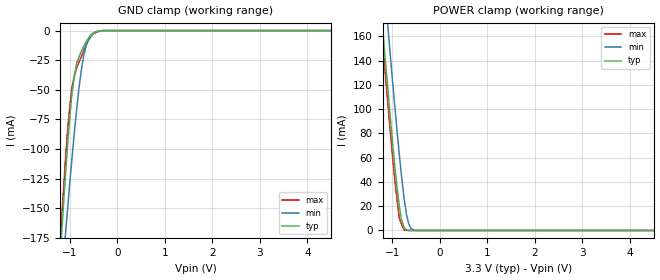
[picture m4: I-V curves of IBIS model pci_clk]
| [Disclaimer] This information is for modeling purposes only and is not
| guaranteed.
| [Copyright] Copyright 2000, Intel Corporation, All Rights Reserved.
| From intel.ibs, 21555, Intel Corporation
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[Model]   pci_clk
Model_type   Input
Vinl = 0.99V
Vinh = 1.65V
|   typ   min   max
C_comp   4.000pF   2.000pF   6.000pF
[Voltage Range]   3.300V   3.135V   3.465V
[Temperature Range]   25.0   100.0   0.0
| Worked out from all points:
|   GND clamp passes 1 mA (typ) near -0.46 V on its own axis
|   POWER clamp passes 1 mA (typ) near -0.71 V on its own axis
[GND Clamp]
|   Voltage   I(typ)   I(min)   I(max)
-3.3V     -1.674A    -1.356A    -1.789A
-1.2V     -191mA     -227.1mA   -180.5mA
-1.15V    -159.4mA   -202.1mA   -147.1mA
-1.1V     -128.9mA   -177.6mA   -115.6mA
-1.05V    -100.2mA   -153.5mA   -87.26mA
-950mV    -52.01mA   -107.2mA   -47.88mA
-850mV    -27.3mA    -65.27mA   -30.97mA
-750mV    -17.19mA   -31.9mA    -21.66mA
-700mV    -12.93mA   -20.15mA   -16.67mA
-600mV    -5.942mA   -7.203mA   -8.052mA
-450mV    -906uA     -1.117mA   -1.7mA
6.55V     0A         0A         0A
[POWER Clamp]
|   Voltage   I(typ)   I(min)   I(max)
-3.3V     1.315A     1.34A      1.328A
-1.25V    192.8mA    244.5mA    178.6mA
-1.2V     167.3mA    220.4mA    155.6mA
-1.1V     121.2mA    173.1mA    109.1mA
-1.05V    98.12mA    149.4mA    86.03mA
-950mV    54.97mA    104.7mA    43.68mA
-850mV    19.85mA    62.7mA     10.07mA
-800mV    8.417mA    43.58mA    4.561mA
-750mV    2.519mA    26.64mA    513.5uA
-650mV    36.98uA    5.11mA     12.26uA
-500mV    365.5nA    94.16uA    9.304nA
6.55V     0A         0A         0A
